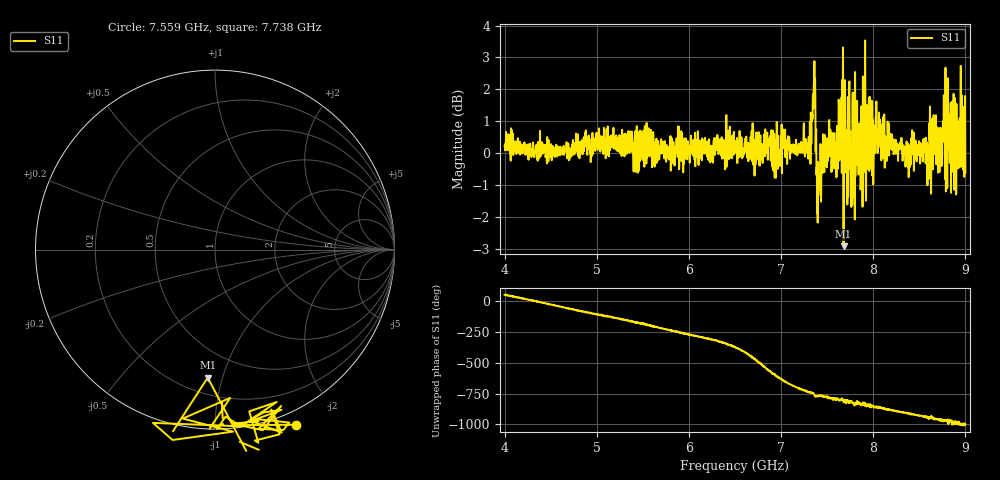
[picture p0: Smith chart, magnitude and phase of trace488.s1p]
! Created with skrf 1.8.0 (http://scikit-rf.org).
# Hz S RI R 50.0
!freq ReS11 ImS11
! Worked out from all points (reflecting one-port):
!   1601 points, 4 GHz to 9 GHz, reference 50 ohm
!   lowest |S11| = -2.9 dB at 7.678 GHz (marker M1), VSWR 6.00, Z = 15.4 - j44.8 ohm
!   phase of S11 starts at 50 deg and turns -1050 deg over the sweep
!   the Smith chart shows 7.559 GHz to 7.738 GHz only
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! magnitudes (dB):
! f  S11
! 4 GHz  0.2
! 4.625 GHz  0.0
! 5.25 GHz  0.0
! 5.875 GHz  0.2
! 6.5 GHz  0.4
! 7.125 GHz  0.3
! 7.294 GHz  -0.2
! 7.347 GHz  1.8
! 7.409 GHz  -0.9
! 7.481 GHz  0.1
! 7.578 GHz  0.6
! 7.65 GHz  1.1
! 7.678 GHz  -2.9
! 7.703 GHz  0.0
! 7.75 GHz  0.7
! 7.775 GHz  1.6
! 7.8 GHz  -2.1
! 7.875 GHz  -0.1
! 7.928 GHz  1.5
! 8.05 GHz  0.7
! 8.375 GHz  0.1
! 8.603 GHz  -0.8
! 8.656 GHz  1.2
! 8.725 GHz  0.5
! 8.788 GHz  -1.2
! 8.919 GHz  -0.5
! 8.972 GHz  1.1
! 9 GHz  -0.6
